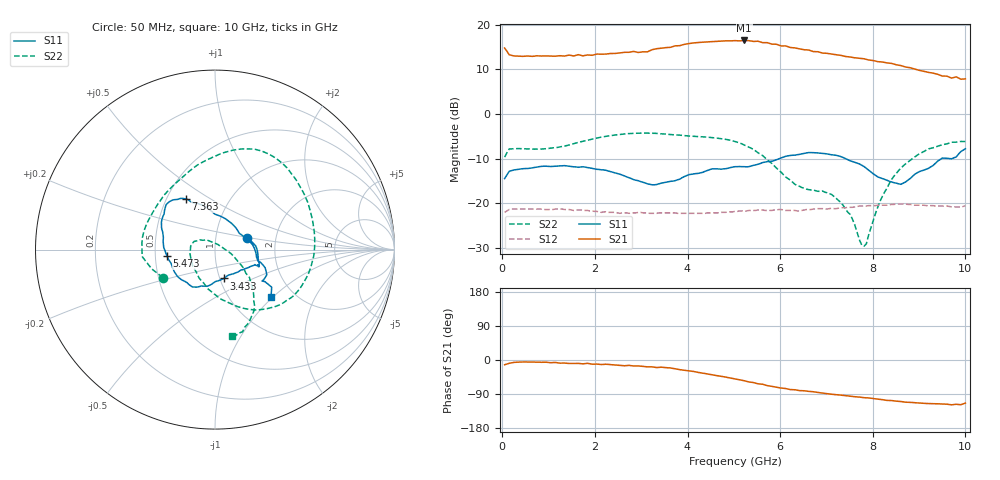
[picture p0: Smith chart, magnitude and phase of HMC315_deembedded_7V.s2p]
!Hittite Microwave Corporation
!12 Elizabeth Drive
!Chelmsford, MA 01824
!Tel: 978-250-3343
!Fax: 978-250-3373
!Device: HMC315, DC-7 GHz HBT Darlington Amplifier
!Misc:  Vcc=7V Icc=48.55mA , DEEMBEDDED TO THE PINS OF THE DEVICE
# MHZ S MA R 50
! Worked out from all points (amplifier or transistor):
!   201 points, 50 MHz to 10 GHz, reference 50 ohm
!   highest |S21| = 16.5 dB at 5.224 GHz (marker M1)
!   |S21| within 3 dB of that: 2.281 GHz to 7.078 GHz (4.797 GHz wide, 103 % of centre) (the widest 1 of 2)
!   unconditionally stable (mu >= 1): start of sweep to 1.952 GHz; 3.909 GHz to 4.976 GHz; 5.782 GHz to end of sweep
!   at 1.692 GHz: K = 1.05, MAG = 15.9 dB, |S12| = -21.5 dB
!   at 5.025 GHz: K = 0.99, MSG = 19.1 dB, |S12| = -21.8 dB
!   at 10 GHz: K = 1.67, MAG = 9.4 dB, |S12| = -20.5 dB
!   S11 on the Smith chart (normalised r, x): 50 MHz: 1.42, +0.19; 3.433 GHz: 1.04, -0.35; 5.473 GHz: 0.58, -0.05; 7.363 GHz: 0.63, +0.39; 10 GHz: 1.53, -0.97
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50  0.189 20.1  5.506 -12.5  0.079 8.0  0.329 -151.7
149.5  0.228 5.2  4.622 -8.7  0.085 6.1  0.406 -174.1
249  0.236 -1.4  4.483 -6.3  0.086 6.5  0.407 177.5
945.5  0.26 -19.7  4.488 -5.8  0.085 18.9  0.408 139.2
1741.5  0.256 -19.8  4.494 -10.1  0.083 33.1  0.495 97.1
2836  0.184 -38.2  5.04 -15.8  0.078 57.8  0.608 64.1
3134.5  0.165 -56.2  4.984 -18.0  0.078 65.6  0.611 55.1
3383.25  0.165 -69.7  5.435 -19.5  0.078 70.5  0.603 46.6
3433  0.168 -73.1  5.464 -19.0  0.078 71.7  0.6 44.7
3632  0.176 -86.0  5.598 -21.0  0.078 76.6  0.589 36.1
4129.5  0.213 -107.2  6.272 -30.2  0.077 88.1  0.563 11.9
5025  0.257 -144.6  6.653 -49.8  0.081 110.4  0.49 -35.2
5224  0.257 -157.3  6.685 -54.6  0.081 114.8  0.45 -45.9
5472.75  0.269 -172.1  6.537 -61.2  0.083 119.3  0.385 -59.9
5721.5  0.293 170.6  6.317 -67.6  0.083 123.7  0.307 -75.2
6219  0.343 148.2  5.575 -78.0  0.083 135.1  0.182 -119.0
6716.5  0.369 134.4  5.016 -83.8  0.086 144.2  0.141 -170.4
7363.25  0.325 119.9  4.483 -93.4  0.089 156.8  0.094 145.7
7811  0.258 106.0  4.168 -99.4  0.093 164.3  0.033 65.1
8358.25  0.176 64.2  3.719 -106.8  0.096 170.3  0.167 -30.4
9701.5  0.315 -33.7  2.529 -118.3  0.091 -172.2  0.483 -71.5
10000  0.408 -40.4  2.477 -113.7  0.094 -170.3  0.492 -79.2
